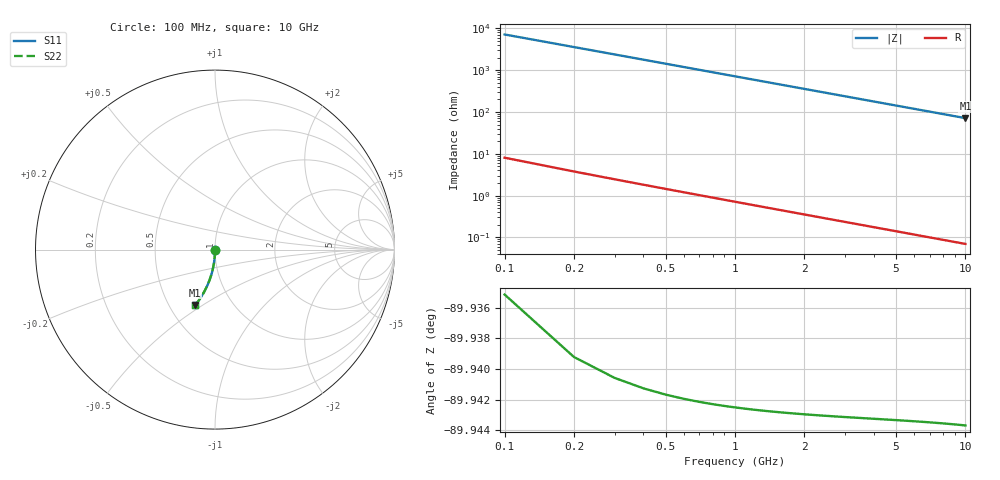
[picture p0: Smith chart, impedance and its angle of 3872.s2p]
# Hz S RI R 50.00
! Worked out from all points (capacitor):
!   100 points, 100 MHz to 10 GHz, reference 50 ohm
!   read as one part in shunt: C = 224 fF near 100 MHz
!   lowest |Z| = 71.2 ohm at 10 GHz (marker M1)
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1e8  1.36e-05 -0.00348  1 -0.00355  1 -0.00355  1.36e-05 -0.00348
2e8  -2.68e-05 -0.00696  0.9999 -0.0071  0.9999 -0.0071  -2.68e-05 -0.00696
3e8  -9.18e-05 -0.0104  0.9998 -0.0106  0.9998 -0.0106  -9.18e-05 -0.0104
4e8  -0.000182 -0.0139  0.9998 -0.0142  0.9998 -0.0142  -0.000182 -0.0139
5e8  -0.000296 -0.0174  0.9996 -0.0177  0.9996 -0.0177  -0.000296 -0.0174
6e8  -0.000435 -0.0209  0.9995 -0.0213  0.9995 -0.0213  -0.000435 -0.0209
7e8  -0.000599 -0.0243  0.9993 -0.0248  0.9993 -0.0248  -0.000599 -0.0243
8e8  -0.000788 -0.0278  0.9992 -0.0284  0.9992 -0.0284  -0.000788 -0.0278
9e8  -0.001 -0.0313  0.9989 -0.0319  0.9989 -0.0319  -0.001 -0.0313
1.1e9  -0.0015 -0.0382  0.9984 -0.039  0.9984 -0.039  -0.0015 -0.0382
1.4e9  -0.00243 -0.0486  0.9975 -0.0496  0.9975 -0.0496  -0.00243 -0.0486
1.8e9  -0.00402 -0.0624  0.9959 -0.0636  0.9959 -0.0636  -0.00402 -0.0624
2.1e9  -0.00546 -0.0727  0.9945 -0.0741  0.9945 -0.0741  -0.00546 -0.0727
2.5e9  -0.00772 -0.0863  0.9922 -0.0881  0.9922 -0.0881  -0.00772 -0.0863
2.9e9  -0.0103 -0.0998  0.9896 -0.1019  0.9896 -0.1019  -0.0103 -0.0998
3.4e9  -0.0142 -0.1166  0.9858 -0.119  0.9858 -0.119  -0.0142 -0.1166
4.2e9  -0.0214 -0.143  0.9785 -0.1459  0.9785 -0.1459  -0.0214 -0.143
5.1e9  -0.0313 -0.1718  0.9687 -0.1754  0.9687 -0.1754  -0.0313 -0.1718
5.9e9  -0.0414 -0.1967  0.9585 -0.2008  0.9585 -0.2008  -0.0414 -0.1967
6.7e9  -0.0527 -0.2207  0.9472 -0.2254  0.9472 -0.2254  -0.0527 -0.2207
8.4e9  -0.0804 -0.2685  0.9195 -0.2744  0.9195 -0.2744  -0.0804 -0.2685
1e10  -0.1102 -0.3091  0.8897 -0.3162  0.8897 -0.3162  -0.1102 -0.3091
